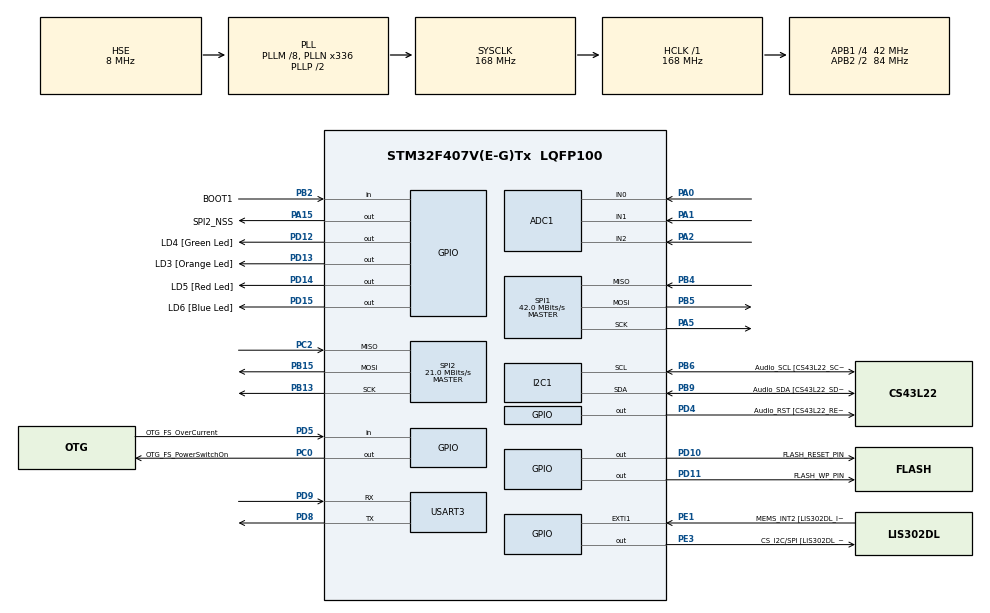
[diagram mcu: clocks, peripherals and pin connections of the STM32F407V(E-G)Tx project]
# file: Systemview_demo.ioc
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ADC1.Channel-0\#ChannelRegularConversion=ADC_CHANNEL_0
ADC1.NbrOfConversionFlag=1
ADC1.Rank-0\#ChannelRegularConversion=1
ADC1.SamplingTime-0\#ChannelRegularConversion=ADC_SAMPLETIME_3CYCLES
ADC1.master=1
FREERTOS.Tasks01=defaultTask,24,128,StartDefaultTask,Default,NULL,Dynamic,NULL,NULL;demoTask2,8,128,Task02,Default,NULL,Dynamic,NULL,NULL;demoTask01,8,128,Task1,Default,NULL,Dynamic,NULL,NULL
Mcu.Family=STM32F4
Mcu.Name=STM32F407V(E-G)Tx
Mcu.Package=LQFP100
NVIC.PriorityGroup=NVIC_PRIORITYGROUP_4
PA0-WKUP.Signal=ADCx_IN0
PA1.Signal=ADCx_IN1
PA10.GPIO_Label=OTG_FS_ID
PA10.GPIO_Mode=GPIO_MODE_AF_PP
PA10.GPIO_PuPd=GPIO_NOPULL
PA10.GPIO_Speed=GPIO_SPEED_FREQ_LOW
PA10.Signal=USB_OTG_FS_ID
PA11.GPIO_Label=OTG_FS_DM
PA11.GPIO_Mode=GPIO_MODE_AF_PP
PA11.GPIO_PuPd=GPIO_NOPULL
PA11.GPIO_Speed=GPIO_SPEED_FREQ_LOW
PA11.Signal=USB_OTG_FS_DM
PA12.GPIO_Label=OTG_FS_DP
PA12.GPIO_Mode=GPIO_MODE_AF_PP
PA12.GPIO_PuPd=GPIO_NOPULL
PA12.GPIO_Speed=GPIO_SPEED_FREQ_LOW
PA12.Signal=USB_OTG_FS_DP
PA13.GPIO_Label=SWDIO
PA13.Mode=Serial_Wire
PA13.Signal=SYS_JTMS-SWDIO
PA14.GPIO_Label=SWCLK
PA14.Mode=Serial_Wire
PA14.Signal=SYS_JTCK-SWCLK
PA15.GPIO_Label=SPI2_NSS
PA15.Signal=GPIO_Output
PA2.Signal=ADCx_IN2
PA5.Mode=Full_Duplex_Master
PA5.Signal=SPI1_SCK
PA9.GPIO_Label=VBUS_FS
PA9.GPIO_Mode=GPIO_MODE_INPUT
PA9.GPIO_PuPd=GPIO_NOPULL
PA9.Signal=USB_OTG_FS_VBUS
PB10.GPIO_Label=CLK_IN [MP45DT02_CLK]
PB10.GPIO_Mode=GPIO_MODE_AF_PP
PB10.GPIO_PuPd=GPIO_NOPULL
PB10.GPIO_Speed=GPIO_SPEED_FREQ_LOW
PB10.Signal=I2S2_CK
PB13.Mode=Full_Duplex_Master
PB13.Signal=SPI2_SCK
PB15.Mode=Full_Duplex_Master
PB15.Signal=SPI2_MOSI
PB2.GPIO_Label=BOOT1
PB2.GPIO_Mode=GPIO_MODE_INPUT
PB2.GPIO_PuPd=GPIO_NOPULL
PB2.Signal=GPIO_Input
PB4.Mode=Full_Duplex_Master
PB4.Signal=SPI1_MISO
PB5.Mode=Full_Duplex_Master
PB5.Signal=SPI1_MOSI
PB6.GPIO_Label=Audio_SCL [CS43L22_SCL]
PB6.GPIO_Mode=GPIO_MODE_AF_OD
PB6.GPIO_Pu=GPIO_PULLUP
PB6.GPIO_PuPd=GPIO_NOPULL
PB6.GPIO_Speed=GPIO_SPEED_FREQ_LOW
PB6.Mode=I2C
PB6.Signal=I2C1_SCL
PB9.GPIO_Label=Audio_SDA [CS43L22_SDA]
PB9.GPIO_Mode=GPIO_MODE_AF_OD
PB9.GPIO_Pu=GPIO_PULLUP
PB9.GPIO_PuPd=GPIO_NOPULL
PB9.GPIO_Speed=GPIO_SPEED_FREQ_LOW
PB9.Mode=I2C
PB9.Signal=I2C1_SDA
PC0.GPIO_Label=OTG_FS_PowerSwitchOn
PC0.GPIO_PuPd=GPIO_NOPULL
PC0.GPIO_Speed=GPIO_SPEED_FREQ_LOW
PC0.PinState=GPIO_PIN_SET
PC0.Signal=GPIO_Output
PC10.GPIO_Label=I2S3_SCK [CS43L22_SCLK]
PC10.GPIO_Mode=GPIO_MODE_AF_PP
PC10.GPIO_PuPd=GPIO_NOPULL
PC10.GPIO_Speed=GPIO_SPEED_FREQ_LOW
PC10.Signal=I2S3_CK
PC12.GPIO_Label=I2S3_SD [CS43L22_SDIN]
PC12.GPIO_Mode=GPIO_MODE_AF_PP
PC12.GPIO_PuPd=GPIO_NOPULL
PC12.GPIO_Speed=GPIO_SPEED_FREQ_LOW
PC12.Signal=I2S3_SD
PC14-OSC32_IN.GPIO_Label=PC14-OSC32_IN
PC14-OSC32_IN.Mode=LSE-External-Oscillator
PC14-OSC32_IN.Signal=RCC_OSC32_IN
PC15-OSC32_OUT.GPIO_Label=PC15-OSC32_OUT
PC15-OSC32_OUT.Mode=LSE-External-Oscillator
PC15-OSC32_OUT.Signal=RCC_OSC32_OUT
PC2.Mode=Full_Duplex_Master
PC2.Signal=SPI2_MISO
PC3.GPIO_Label=PDM_OUT [MP45DT02_DOUT]
PC3.GPIO_Mode=GPIO_MODE_AF_PP
PC3.GPIO_PuPd=GPIO_NOPULL
PC3.GPIO_Speed=GPIO_SPEED_FREQ_LOW
PC3.Signal=I2S2_SD
PC7.GPIO_Label=I2S3_MCK [CS43L22_MCLK]
PC7.GPIO_Mode=GPIO_MODE_AF_PP
PC7.GPIO_PuPd=GPIO_NOPULL
PC7.GPIO_Speed=GPIO_SPEED_FREQ_LOW
PC7.Signal=I2S3_MCK
PD10.GPIO_Label=FLASH_RESET_PIN
PD10.Signal=GPIO_Output
PD11.GPIO_Label=FLASH_WP_PIN
PD11.Signal=GPIO_Output
PD12.GPIO_Label=LD4 [Green Led]
PD12.GPIO_PuPd=GPIO_NOPULL
PD12.GPIO_Speed=GPIO_SPEED_FREQ_LOW
PD12.Signal=GPIO_Output
PD13.GPIO_Label=LD3 [Orange Led]
PD13.GPIO_PuPd=GPIO_NOPULL
PD13.GPIO_Speed=GPIO_SPEED_FREQ_LOW
PD13.Signal=GPIO_Output
PD14.GPIO_Label=LD5 [Red Led]
PD14.GPIO_PuPd=GPIO_NOPULL
PD14.GPIO_Speed=GPIO_SPEED_FREQ_LOW
PD14.Signal=GPIO_Output
PD15.GPIO_Label=LD6 [Blue Led]
PD15.GPIO_PuPd=GPIO_NOPULL
PD15.GPIO_Speed=GPIO_SPEED_FREQ_LOW
PD15.Signal=GPIO_Output
PD4.GPIO_Label=Audio_RST [CS43L22_RESET]
PD4.GPIO_PuPd=GPIO_NOPULL
PD4.GPIO_Speed=GPIO_SPEED_FREQ_LOW
PD4.Signal=GPIO_Output
PD5.GPIO_Label=OTG_FS_OverCurrent
PD5.GPIO_Mode=GPIO_MODE_INPUT
PD5.GPIO_PuPd=GPIO_NOPULL
PD5.Signal=GPIO_Input
PD8.Mode=Asynchronous
PD8.Signal=USART3_TX
PD9.Mode=Asynchronous
PD9.Signal=USART3_RX
PE1.GPIO_Label=MEMS_INT2 [LIS302DL_INT2]
PE1.GPIO_ModeDefaultEXTI=GPIO_MODE_EVT_RISING
PE1.GPIO_PuPd=GPIO_NOPULL
PE1.Signal=GPXTI1
PE3.GPIO_Label=CS_I2C/SPI [LIS302DL_CS_I2C/SPI]
PE3.GPIO_PuPd=GPIO_NOPULL
PE3.GPIO_Speed=GPIO_SPEED_FREQ_LOW
PE3.Signal=GPIO_Output
PH0-OSC_IN.GPIO_Label=PH0-OSC_IN
PH0-OSC_IN.Mode=HSE-External-Oscillator
PH0-OSC_IN.Signal=RCC_OSC_IN
PH1-OSC_OUT.GPIO_Label=PH1-OSC_OUT
PH1-OSC_OUT.Mode=HSE-External-Oscillator
PH1-OSC_OUT.Signal=RCC_OSC_OUT
ProjectManager.HeapSize=0x200
ProjectManager.StackSize=0x400
ProjectManager.TargetToolchain=STM32CubeIDE
RCC.48MHZClocksFreq_Value=48000000
RCC.AHBFreq_Value=168000000
RCC.APB1CLKDivider=RCC_HCLK_DIV4
RCC.APB1Freq_Value=42000000
RCC.APB1TimFreq_Value=84000000
RCC.APB2CLKDivider=RCC_HCLK_DIV2
RCC.APB2Freq_Value=84000000
RCC.APB2TimFreq_Value=168000000
RCC.CortexFreq_Value=168000000
RCC.HCLKFreq_Value=168000000
RCC.HSE_VALUE=8000000
RCC.HSI_VALUE=16000000
RCC.PLLM=8
RCC.PLLN=336
RCC.PLLQ=7
RCC.PLLSourceVirtual=RCC_PLLSOURCE_HSE
RCC.SYSCLKFreq_VALUE=168000000
RCC.SYSCLKSource=RCC_SYSCLKSOURCE_PLLCLK
RCC.VCOOutputFreq_Value=336000000
SH.ADCx_IN0.0=ADC1_IN0,IN0
SH.ADCx_IN1.0=ADC1_IN1,IN1
SH.ADCx_IN2.0=ADC1_IN2,IN2
SPI1.CalculateBaudRate=42.0 MBits/s
SPI1.Direction=SPI_DIRECTION_2LINES
SPI1.Mode=SPI_MODE_MASTER
SPI1.VirtualType=VM_MASTER
SPI2.CalculateBaudRate=21.0 MBits/s
SPI2.Direction=SPI_DIRECTION_2LINES
SPI2.Mode=SPI_MODE_MASTER
SPI2.VirtualType=VM_MASTER
USART3.VirtualMode=VM_ASYNC
VP_FREERTOS_VS_CMSIS_V2.Mode=CMSIS_V2
board=STM32F407G-DISC1

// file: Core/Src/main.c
/* USER CODE BEGIN Header */
/**
 ******************************************************************************
 * @file           : main.c
 * @brief          : Main program body
 ******************************************************************************
 * @attention
 *
 * Copyright (c) 2022 STMicroelectronics.
 * All rights reserved.
 *
 * This software is licensed under terms that can be found in the LICENSE file
 * in the root directory of this software component.
 * If no LICENSE file comes with this software, it is provided AS-IS.
 *
 ******************************************************************************
 */
/* USER CODE END Header */
#include "main.h"
#include "cmsis_os.h"
#include "adc.h"
#include "i2c.h"
#include "spi.h"
#include "usart.h"
#include "gpio.h"

/* USER CODE BEGIN Includes */
#include "../app/hal.h"
/* USER CODE END Includes */

/* USER CODE BEGIN PD */
#define FLASH_TEST_N25Q				(0)
#define FLASH_TEST_MX25				(1)
#define MX25_SPI_PORT1                  (0) /* 1 -> SPI1, 0 -> SPI2 */
#define MX25_DEFAULT_IMG_ADDR           (0x7000)
/* USER CODE END PD */

/* USER CODE BEGIN PV */
volatile int adc_voltage[10] = {0};
#if (FLASH_TEST_MX25 == 1)
uint8_t flash_info[20] = {0};
volatile bool g_test_flash = 1;
#include "../app/MX25Series.h"
MX25Series_t flash_test = {0};
uint8_t buff_read[512] = {0};
uint8_t buff_write[10] = {1, 2, 3};
#endif /* End of (FLASH_TEST_MX25 == 1) */

/* USER CODE END PV */

void SystemClock_Config(void);
void MX_FREERTOS_Init(void);

/* USER CODE BEGIN 0 */
void Config_Systemview(void)
{
	CoreDebug->DEMCR |= CoreDebug_DEMCR_TRCENA_Msk;
	 /* Number of clock cycles that happened after CPU reset */
	 DWT->CYCCNT = 0;
	/*enable cycle counting feature*/
	DWT->CTRL |= DWT_CTRL_CYCCNTENA_Msk;
}

void DWT_Delay_us(volatile uint32_t microseconds)
{
  uint32_t clk_cycle_start = DWT->CYCCNT;

  /* Go to number of cycles for system */
  microseconds *= (HAL_RCC_GetHCLKFreq() / 1000000);

  /* Delay till end */
  while ((DWT->CYCCNT - clk_cycle_start) < microseconds);
}
#define PUTCHAR_PROTOTYPE int __io_putchar(int ch)
/**
  * @brief  Retargets the C library printf function to the USART.
  * @param  None
  * @retval None
  */
PUTCHAR_PROTOTYPE
{
  /* Place your implementation of fputc here */
  /* e.g. write a character to the USART1 and Loop until the end of transmission */
  HAL_UART_Transmit(&huart3, (uint8_t *)&ch, 1, 0xFFFF);

  return ch;
}

int _write(int file, char *ptr, int len)
{
	int DataIdx;

	for (DataIdx = 0; DataIdx < len; DataIdx++)
	{
		__io_putchar(*ptr++);
	}
	return len;
}

// Config all external flash pins as analog input
void flash_pins_deinit(void)
{
    HAL_GPIO_DeInit(GPIOD, FLASH_RESET_PIN_Pin | FLASH_WP_PIN_Pin);
    #if (MX25_SPI_PORT1 != 0)

    /*Configure GPIO pin : SPI1 NSS */
    HAL_GPIO_DeInit(SPI2_NSS_GPIO_Port, SPI2_NSS_Pin);
    HAL_SPI_MspDeInit(&hspi1);

    #else /* !(MX25_SPI_PORT1 != 0) */

    /*Configure GPIO pin : SPI2 NSS */
    HAL_GPIO_DeInit(SPI2_NSS_GPIO_Port, SPI2_NSS_Pin);
    HAL_SPI_MspDeInit(&hspi2);

    #endif /* End of (MX25_SPI_PORT1 != 0) */

}
/* USER CODE END 0 */

int main(void)
{

  /* MCU Configuration--------------------------------------------------------*/

  /* Reset of all peripherals, Initializes the Flash interface and the Systick. */
  HAL_Init();

  /* Configure the system clock */
  SystemClock_Config();

  /* Initialize all configured peripherals */
  MX_GPIO_Init();
  MX_I2C1_Init();
  MX_ADC1_Init();
  MX_SPI1_Init();
  MX_SPI2_Init();
  MX_USART3_UART_Init();
  /* USER CODE BEGIN 2 */
  Config_Systemview();
  /* USER CODE END 2 */

  /* Init scheduler */
  osKernelInitialize();  /* Call init function for freertos objects (in freertos.c) */
  MX_FREERTOS_Init();

  /* Start scheduler */
  osKernelStart();

  /* We should never get here as control is now taken by the scheduler */
  /* Infinite loop */
  /* USER CODE BEGIN WHILE */
#if (FLASH_TEST_MX25 != 0)
    #if (MX25_SPI_PORT1 != 0)
    if (MX25Series_status_ok == MX25Series_init(&flash_test, &MX25R6435F_Chip_Def_Low_Power, SPI2_NSS_Pin_NUMBER,
                                                FLASH_RESET_PIN_NUMBER, FLASH_WP_PIN_NUMBER, 0, &hspi1))
    #else /* !(MX25_SPI_PORT1 != 0) */
    if (MX25Series_status_ok == MX25Series_init(&flash_test, &MX25R6435F_Chip_Def_Low_Power, SPI2_NSS_Pin_NUMBER,
                                                FLASH_RESET_PIN_NUMBER, FLASH_WP_PIN_NUMBER, 0, &hspi2))
    #endif /* End of (MX25_SPI_PORT1 != 0) */
    {
        if (MX25Series_status_ok == MX25Series_read_identification(&flash_test, &flash_info[0], &flash_info[1], &flash_info[2]))
        {
            printf("MX25Series_init ok\r\n");
            // Check valid image
            if (!is_image_valid(MX25_DEFAULT_IMG_ADDR))
            {
                printf("Found valid image \r\n");
            }
            else
            {
                printf("Image is invalid\r\n");
            }
        }
        else
            printf("MX25Series_read_manufacture_and_device_id fail\r\n");
    }
    else
        printf("MX25Series_init fail\r\n");
#endif
    flash_pins_deinit();
  while (1) {

	  while(g_test_flash == true)
	  {
#if (FLASH_TEST_N25Q != 0)
#include "../app/n25q128a.h"
		  N25Q_ReadID(flash_info, 20);
#endif (FLASH_TEST_N25Q != 0)

	  }
    /* USER CODE END WHILE */

  }
}

void SystemClock_Config(void)
{
  RCC_OscInitTypeDef RCC_OscInitStruct = {0};
  RCC_ClkInitTypeDef RCC_ClkInitStruct = {0};

  /** Configure the main internal regulator output voltage
  */
  __HAL_RCC_PWR_CLK_ENABLE();
  __HAL_PWR_VOLTAGESCALING_CONFIG(PWR_REGULATOR_VOLTAGE_SCALE1);

  /** Initializes the RCC Oscillators according to the specified parameters
  * in the RCC_OscInitTypeDef structure.
  */
  RCC_OscInitStruct.OscillatorType = RCC_OSCILLATORTYPE_HSE;
  RCC_OscInitStruct.HSEState = RCC_HSE_ON;
  RCC_OscInitStruct.PLL.PLLState = RCC_PLL_ON;
  RCC_OscInitStruct.PLL.PLLSource = RCC_PLLSOURCE_HSE;
  RCC_OscInitStruct.PLL.PLLM = 8;
  RCC_OscInitStruct.PLL.PLLN = 336;
  RCC_OscInitStruct.PLL.PLLP = RCC_PLLP_DIV2;
  RCC_OscInitStruct.PLL.PLLQ = 7;
  if (HAL_RCC_OscConfig(&RCC_OscInitStruct) != HAL_OK)
  {
    Error_Handler();
  }

  /** Initializes the CPU, AHB and APB buses clocks
  */
  RCC_ClkInitStruct.ClockType = RCC_CLOCKTYPE_HCLK|RCC_CLOCKTYPE_SYSCLK
                              |RCC_CLOCKTYPE_PCLK1|RCC_CLOCKTYPE_PCLK2;
  RCC_ClkInitStruct.SYSCLKSource = RCC_SYSCLKSOURCE_PLLCLK;
  RCC_ClkInitStruct.AHBCLKDivider = RCC_SYSCLK_DIV1;
  RCC_ClkInitStruct.APB1CLKDivider = RCC_HCLK_DIV4;
  RCC_ClkInitStruct.APB2CLKDivider = RCC_HCLK_DIV2;

  if (HAL_RCC_ClockConfig(&RCC_ClkInitStruct, FLASH_LATENCY_5) != HAL_OK)
  {
    Error_Handler();
  }
}

void Error_Handler(void)
{
  __disable_irq();
  while (1) {
  }
}

#ifdef  USE_FULL_ASSERT
/**
  * @brief  Reports the name of the source file and the source line number
  *         where the assert_param error has occurred.
  * @param  file: pointer to the source file name
  * @param  line: assert_param error line source number
  * @retval None
  */
void assert_failed(uint8_t *file, uint32_t line)
{
  /* USER CODE BEGIN 6 */
  /* User can add his own implementation to report the file name and line
     number, ex: printf("Wrong parameters value: file %s on line %d\r\n", file,
     line) */
	printf("Wrong parameters value: file %s on line %d\r\n", file, line);
  /* USER CODE END 6 */
}
#endif /* USE_FULL_ASSERT */

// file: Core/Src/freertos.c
/* USER CODE BEGIN Header */
/**
  ******************************************************************************
  * File Name          : freertos.c
  * Description        : Code for freertos applications
  ******************************************************************************
  * @attention
  *
  * Copyright (c) 2022 STMicroelectronics.
  * All rights reserved.
  *
  * This software is licensed under terms that can be found in the LICENSE file
  * in the root directory of this software component.
  * If no LICENSE file comes with this software, it is provided AS-IS.
  *
  ******************************************************************************
  */
/* USER CODE END Header */

#include "FreeRTOS.h"
#include "task.h"
#include "main.h"
#include "cmsis_os.h"

/* Definitions for defaultTask */
osThreadId_t defaultTaskHandle;
const osThreadAttr_t defaultTask_attributes = {
  .name = "defaultTask",
  .stack_size = 128 * 4,
  .priority = (osPriority_t) osPriorityNormal,
};
/* Definitions for demoTask2 */
osThreadId_t demoTask2Handle;
const osThreadAttr_t demoTask2_attributes = {
  .name = "demoTask2",
  .stack_size = 128 * 4,
  .priority = (osPriority_t) osPriorityLow,
};
/* Definitions for demoTask01 */
osThreadId_t demoTask01Handle;
const osThreadAttr_t demoTask01_attributes = {
  .name = "demoTask01",
  .stack_size = 128 * 4,
  .priority = (osPriority_t) osPriorityLow,
};

void StartDefaultTask(void *argument);
void Task02(void *argument);
void Task1(void *argument);

void MX_FREERTOS_Init(void); /* (MISRA C 2004 rule 8.1) */

void MX_FREERTOS_Init(void) {

  /* Create the thread(s) */
  /* creation of defaultTask */
  defaultTaskHandle = osThreadNew(StartDefaultTask, NULL, &defaultTask_attributes);

  /* creation of demoTask2 */
  demoTask2Handle = osThreadNew(Task02, NULL, &demoTask2_attributes);

  /* creation of demoTask01 */
  demoTask01Handle = osThreadNew(Task1, NULL, &demoTask01_attributes);

}

void StartDefaultTask(void *argument)
{
  for(;;)
  {
    osDelay(1);
  }
}

void Task02(void *argument)
{
  for(;;)
  {
    osDelay(1);
  }
}

void Task1(void *argument)
{
  for(;;)
  {
    osDelay(1);
  }
}
